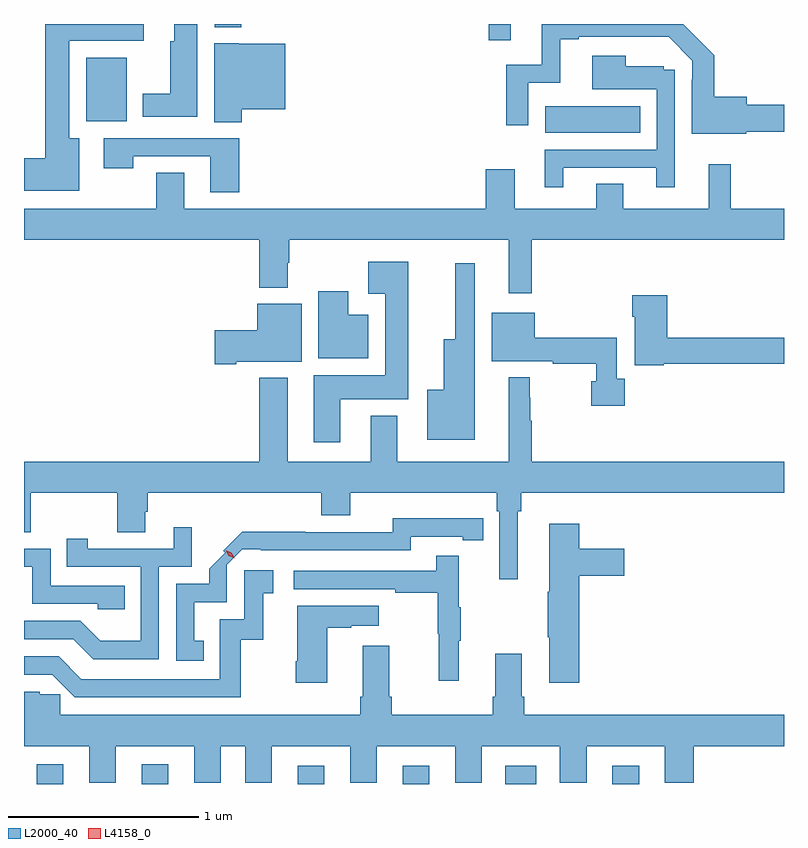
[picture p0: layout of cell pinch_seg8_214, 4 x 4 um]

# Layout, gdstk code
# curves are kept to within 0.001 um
import gdstk
lib = gdstk.Library(unit=1e-6, precision=1e-09)
def R(c, l, rs):  # rectangles x0, y0, x1, y1
    for r in rs: c.add(gdstk.rectangle(r[:2], r[2:], *l))
def P(c, l, *ps):  # polygons
    for p in ps: c.add(gdstk.Polygon(p, *l))
L2000_40 = (2000, 40)
L4158_0 = (4158, 0)

pinch_seg8_214 = lib.new_cell('pinch_seg8_214')
R(pinch_seg8_214, L2000_40, [(669.467,1098.984,669.607,1099.087), (670.019,1098.984,670.159,1099.087), (670.841,1098.984,670.981,1099.081), (671.393,1098.984,671.533,1099.081), (671.933,1098.984,672.097,1099.081), (672.497,1098.984,672.637,1099.081), (672.144,1102.412,672.644,1102.552), (669.728,1102.472,669.94,1102.807), (671.845,1102.899,671.962,1102.984), (670.403,1102.967,670.544,1102.984)])
P(pinch_seg8_214, L2000_40, [(673.2,1102.417),(673.4,1102.417),(673.4,1102.559),(673.204,1102.559),(673.204,1102.6),(673.034,1102.6),(673.034,1102.819),(672.869,1102.984),(672.125,1102.984),(672.125,1102.77),(671.938,1102.77),(671.938,1102.452),(672.054,1102.452),(672.054,1102.674),(672.223,1102.674),(672.223,1102.905),(672.319,1102.905),(672.319,1102.917),(672.793,1102.917),(672.918,1102.791),(672.918,1102.691),(672.915,1102.691),(672.915,1102.406),(673.2,1102.406)],
  [(669.691,1102.384),(669.637,1102.384),(669.637,1102.896),(670.03,1102.896),(670.03,1102.984),(669.512,1102.984),(669.512,1102.277),(669.4,1102.277),(669.4,1102.106),(669.691,1102.106)],
  [(670.312,1102.984),(670.19,1102.984),(670.19,1102.893),(670.169,1102.893),(670.169,1102.618),(670.025,1102.618),(670.025,1102.496),(670.312,1102.496)],
  [(670.547,1102.535),(670.774,1102.535),(670.774,1102.879),(670.53,1102.879),(670.53,1102.882),(670.4,1102.882),(670.4,1102.468),(670.547,1102.468)],
  [(672.238,1102.227),(672.728,1102.227),(672.728,1102.125),(672.825,1102.125),(672.825,1102.743),(672.768,1102.743),(672.768,1102.762),(672.568,1102.762),(672.568,1102.816),(672.392,1102.816),(672.392,1102.64),(672.729,1102.64),(672.729,1102.323),(672.14,1102.323),(672.14,1102.125),(672.238,1102.125)],
  [(670.532,1102.383),(669.819,1102.383),(669.819,1102.224),(669.975,1102.224),(669.975,1102.287),(670.379,1102.287),(670.379,1102.098),(670.532,1102.098)],
  [(672.073,1101.848),(673.4,1101.848),(673.4,1102.012),(673.121,1102.012),(673.121,1102.246),(673.004,1102.246),(673.004,1102.012),(672.553,1102.012),(672.553,1102.142),(672.413,1102.142),(672.413,1102.012),(671.983,1102.012),(671.983,1102.219),(671.831,1102.219),(671.831,1102.012),(670.243,1102.012),(670.243,1102.202),(670.096,1102.202),(670.096,1102.012),(669.4,1102.012),(669.4,1101.848),(670.637,1101.848),(670.637,1101.596),(670.789,1101.596),(670.789,1101.728),(670.797,1101.728),(670.797,1101.848),(671.951,1101.848),(671.951,1101.567),(672.073,1101.567)],
  [(671.065,1101.008),(671.422,1101.008),(671.422,1101.733),(671.213,1101.733),(671.213,1101.563),(671.3,1101.563),(671.3,1101.136),(670.925,1101.136),(670.925,1100.784),(671.065,1100.784)],
  [(671.773,1101.724),(671.669,1101.724),(671.669,1101.325),(671.609,1101.325),(671.609,1101.058),(671.522,1101.058),(671.522,1100.795),(671.773,1100.795)],
  [(671.212,1101.454),(671.107,1101.454),(671.107,1101.577),(670.949,1101.577),(670.949,1101.224),(671.212,1101.224)],
  [(672.768,1101.196),(673.4,1101.196),(673.4,1101.332),(672.785,1101.332),(672.785,1101.556),(672.602,1101.556),(672.602,1101.443),(672.614,1101.443),(672.614,1101.188),(672.768,1101.188)],
  [(670.516,1101.206),(670.861,1101.206),(670.861,1101.511),(670.628,1101.511),(670.628,1101.372),(670.404,1101.372),(670.404,1101.194),(670.516,1101.194)],
  [(672.563,1101.116),(672.519,1101.116),(672.519,1101.332),(672.088,1101.332),(672.088,1101.463),(671.861,1101.463),(671.861,1101.209),(672.184,1101.209),(672.184,1101.196),(672.411,1101.196),(672.411,1101.103),(672.385,1101.103),(672.385,1100.974),(672.563,1100.974)],
  [(671.998,1100.42),(672.017,1100.42),(672.017,1100.516),(673.4,1100.516),(673.4,1100.68),(672.073,1100.68),(672.073,1100.897),(672.065,1100.897),(672.065,1101.017),(672.062,1101.017),(672.062,1101.124),(671.951,1101.124),(671.951,1100.68),(671.365,1100.68),(671.365,1100.923),(671.225,1100.923),(671.225,1100.68),(670.789,1100.68),(670.789,1101.121),(670.637,1101.121),(670.637,1100.68),(669.4,1100.68),(669.4,1100.308),(669.435,1100.308),(669.435,1100.516),(669.892,1100.516),(669.892,1100.308),(670.039,1100.308),(670.039,1100.418),(670.052,1100.418),(670.052,1100.516),(670.964,1100.516),(670.964,1100.399),(671.116,1100.399),(671.116,1100.516),(671.888,1100.516),(671.888,1100.42),(671.901,1100.42),(671.901,1100.061),(671.998,1100.061)],
  [(670.346,1099.737),(670.297,1099.737),(670.297,1099.941),(670.467,1099.941),(670.467,1100.139),(670.548,1100.22),(670.645,1100.22),(670.645,1100.214),(671.436,1100.214),(671.436,1100.286),(671.708,1100.286),(671.708,1100.266),(671.816,1100.266),(671.816,1100.382),(671.34,1100.383),(671.34,1100.31),(670.88,1100.31),(670.88,1100.312),(670.548,1100.312),(670.448,1100.212),(670.459,1100.202),(670.374,1100.117),(670.374,1100.037),(670.2,1100.037),(670.2,1099.632),(670.346,1099.632)],
  [(672.323,1100.081),(672.559,1100.081),(672.559,1100.223),(672.323,1100.223),(672.323,1100.353),(672.164,1100.353),(672.164,1099.997),(672.157,1099.997),(672.157,1099.756),(672.164,1099.756),(672.164,1099.518),(672.323,1099.518)],
  [(670.11,1100.127),(670.284,1100.127),(670.284,1100.335),(670.187,1100.335),(670.187,1100.223),(669.736,1100.223),(669.736,1100.275),(669.625,1100.275),(669.625,1100.127),(670.014,1100.127),(670.014,1099.738),(669.8,1099.738),(669.696,1099.842),(669.4,1099.842),(669.4,1099.746),(669.659,1099.746),(669.764,1099.641),(670.11,1099.641)],
  [(669.929,1100.028),(669.54,1100.028),(669.54,1100.223),(669.4,1100.223),(669.4,1100.127),(669.444,1100.127),(669.444,1099.932),(669.789,1099.932),(669.789,1099.905),(669.929,1099.905)],
  [(671.687,1099.739),(671.698,1099.739),(671.698,1099.913),(671.687,1099.913),(671.687,1100.185),(671.569,1100.185),(671.569,1100.106),(670.821,1100.106),(670.821,1100.01),(671.353,1100.01),(671.353,1099.99),(671.577,1099.99),(671.577,1099.776),(671.584,1099.776),(671.584,1099.527),(671.687,1099.527)],
  [(670.54,1099.743),(670.658,1099.743),(670.658,1099.989),(670.711,1099.989),(670.711,1100.11),(670.56,1100.11),(670.56,1099.851),(670.431,1099.851),(670.431,1099.536),(669.702,1099.536),(669.582,1099.656),(669.4,1099.656),(669.4,1099.56),(669.548,1099.56),(669.668,1099.44),(670.54,1099.44)],
  [(670.996,1099.807),(671.123,1099.807),(671.123,1099.817),(671.266,1099.817),(671.266,1099.921),(670.838,1099.921),(670.838,1099.63),(670.831,1099.63),(670.831,1099.518),(670.996,1099.518)],
  [(669.883,1099.184),(670.295,1099.184),(670.295,1098.99),(670.435,1098.99),(670.435,1099.184),(670.565,1099.184),(670.565,1098.99),(670.705,1098.99),(670.705,1099.184),(671.117,1099.184),(671.117,1098.99),(671.257,1098.99),(671.257,1099.184),(671.669,1099.184),(671.669,1098.99),(671.809,1098.99),(671.809,1099.184),(672.221,1099.184),(672.221,1098.99),(672.361,1098.99),(672.361,1099.184),(672.773,1099.184),(672.773,1098.99),(672.926,1098.99),(672.926,1099.184),(673.4,1099.184),(673.4,1099.348),(672.032,1099.348),(672.032,1099.444),(672.019,1099.444),(672.019,1099.669),(671.879,1099.669),(671.879,1099.444),(671.867,1099.444),(671.867,1099.348),(671.336,1099.348),(671.336,1099.444),(671.323,1099.444),(671.323,1099.711),(671.183,1099.711),(671.183,1099.444),(671.171,1099.444),(671.171,1099.348),(669.591,1099.348),(669.591,1099.457),(669.482,1099.457),(669.482,1099.47),(669.4,1099.47),(669.4,1099.184),(669.743,1099.184),(669.743,1098.99),(669.883,1098.99)])
P(pinch_seg8_214, L4158_0, [(670.508,1100.173),(670.478,1100.186),(670.461,1100.214),(670.461,1100.215),(670.461,1100.215),(670.491,1100.201),(670.508,1100.173),(670.508,1100.173)])

lib.write_gds('pinch_seg8_214.gds')
